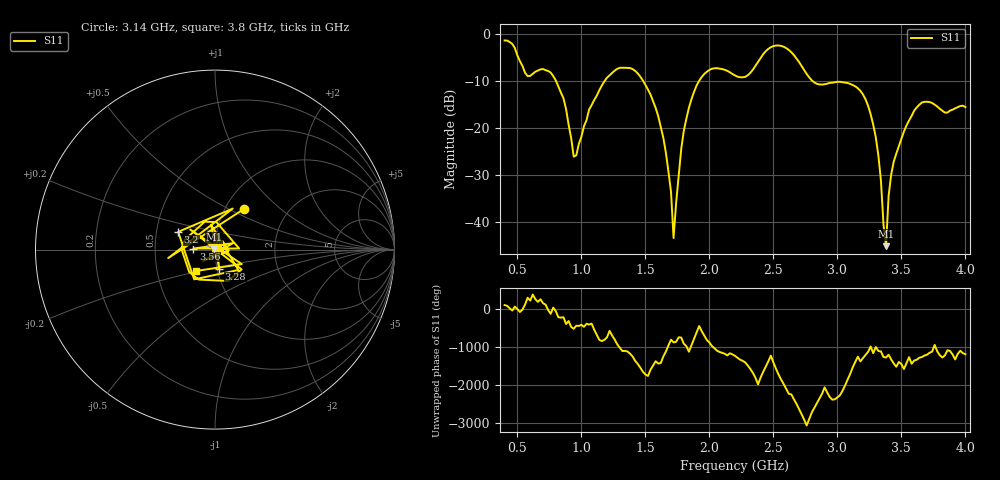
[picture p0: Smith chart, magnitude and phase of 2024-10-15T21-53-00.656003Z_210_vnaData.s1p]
! Created with skrf (http://scikit-rf.org).
# Hz S RI R 50.0
!freq ReS11 ImS11
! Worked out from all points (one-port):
!   181 points, 400 MHz to 4 GHz, reference 50 ohm
!   lowest |S11| = -45.2 dB at 3.38 GHz (marker M1), VSWR 1.01, Z = 49.5 + j0.114 ohm
!   |S11| at or under -10 dB: 802.3 MHz to 1.18 GHz (377.9 MHz wide, 38.1 % of centre); 1.483 GHz to 1.918 GHz (435.2 MHz wide, 25.6 % of centre); 2.807 GHz to end of sweep
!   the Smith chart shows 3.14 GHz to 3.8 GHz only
!   S11 on the Smith chart (normalised r, x): 3.14 GHz: 1.22, +0.60; 3.2 GHz: 0.65, +0.14; 3.28 GHz: 1.02, -0.22; 3.56 GHz: 0.79, +0.01; 3.8 GHz: 0.79, -0.19
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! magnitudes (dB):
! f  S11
! 400 MHz  -1.3
! 860 MHz  -13.7
! 960 MHz  -25.8
! 1.06 GHz  -16.1
! 1.3 GHz  -7.2
! 1.44 GHz  -8.3
! 1.58 GHz  -15.7
! 1.66 GHz  -25.3
! 1.7 GHz  -33.6
! 1.72 GHz  -43.5
! 1.76 GHz  -30.1
! 1.82 GHz  -18.0
! 1.92 GHz  -9.9
! 2.2 GHz  -8.8
! 2.5 GHz  -2.5
! 2.66 GHz  -4.4
! 2.84 GHz  -10.6
! 3.1 GHz  -10.6
! 3.14 GHz  -11.1
! 3.2 GHz  -12.9
! 3.28 GHz  -19.3
! 3.32 GHz  -25.8
! 3.38 GHz  -45.2
! 3.4 GHz  -34.5
! 3.42 GHz  -29.9
! 3.56 GHz  -18.4
! 3.8 GHz  -15.9
! 4 GHz  -15.5
